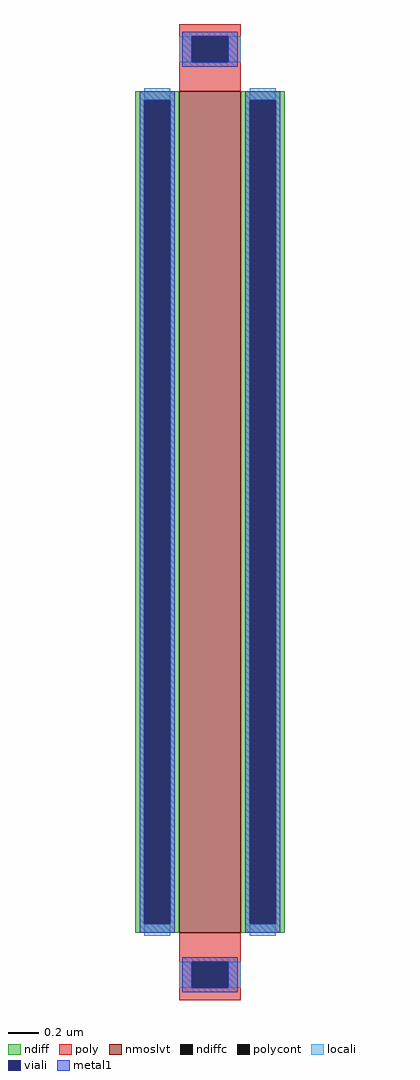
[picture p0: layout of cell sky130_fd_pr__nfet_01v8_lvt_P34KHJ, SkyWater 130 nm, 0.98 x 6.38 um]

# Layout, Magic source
magic
tech sky130A
<< nmoslvt >>
rect -20 -275 20 275
<< ndiff >>
rect -49 269 -20 275
rect -49 -269 -43 269
rect -26 -269 -20 269
rect -49 -275 -20 -269
rect 20 269 49 275
rect 20 -269 26 269
rect 43 -269 49 269
rect 20 -275 49 -269
<< ndiffc >>
rect -43 -269 -26 269
rect 26 -269 43 269
<< poly >>
rect -20 311 20 319
rect -20 294 -12 311
rect 12 294 20 311
rect -20 275 20 294
rect -20 -294 20 -275
rect -20 -311 -12 -294
rect 12 -311 20 -294
rect -20 -319 20 -311
<< polycont >>
rect -12 294 12 311
rect -12 -311 12 -294
<< locali >>
rect -20 294 -12 311
rect 12 294 20 311
rect -43 269 -26 277
rect -43 -277 -26 -269
rect 26 269 43 277
rect 26 -277 43 -269
rect -20 -311 -12 -294
rect 12 -311 20 -294
<< viali >>
rect -12 294 12 311
rect -43 -269 -26 269
rect 26 -269 43 269
rect -12 -311 12 -294
<< metal1 >>
rect -18 311 18 314
rect -18 294 -12 311
rect 12 294 18 311
rect -18 291 18 294
rect -46 269 -23 275
rect -46 -269 -43 269
rect -26 -269 -23 269
rect -46 -275 -23 -269
rect 23 269 46 275
rect 23 -269 26 269
rect 43 -269 46 269
rect 23 -275 46 -269
rect -18 -294 18 -291
rect -18 -311 -12 -294
rect 12 -311 18 -294
rect -18 -314 18 -311
<< properties >>
string gencell sky130_fd_pr__nfet_01v8_lvt
string library sky130
string parameters w 5.5 l 0.4 m 1 nf 1 diffcov 100 polycov 100 guard 0 glc 0 grc 0 gtc 0 gbc 0 tbcov 100 rlcov 100 topc 1 botc 1 poverlap 0 doverlap 1 lmin 0.15 wmin 0.42 compatible {sky130_fd_pr__nfet_01v8 sky130_fd_pr__nfet_01v8_lvt  sky130_fd_bs_flash__special_sonosfet_star  sky130_fd_pr__nfet_g5v0d10v5 sky130_fd_pr__nfet_05v0_nvt  sky130_fd_pr__nfet_03v3_nvt} full_metal 0 viasrc 100 viadrn 100 viagate 100 viagb 0 viagr 0 viagl 0 viagt 0
<< end >>
